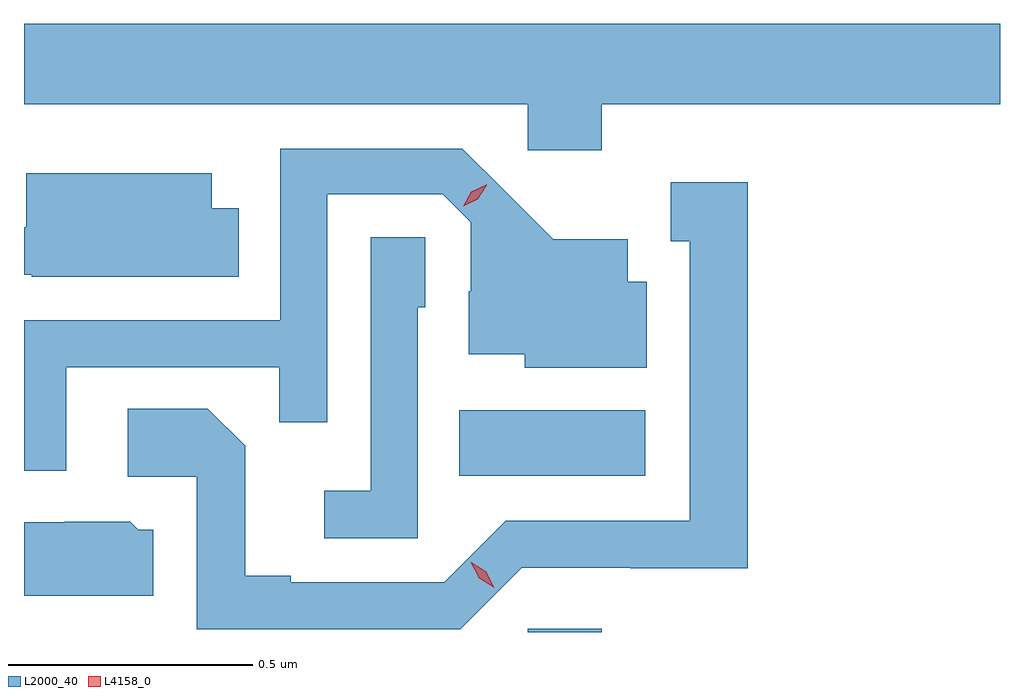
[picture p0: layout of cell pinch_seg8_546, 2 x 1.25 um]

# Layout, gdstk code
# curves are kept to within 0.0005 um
import gdstk
lib = gdstk.Library(unit=1e-6, precision=1e-09)
def R(c, l, rs):  # rectangles x0, y0, x1, y1
    for r in rs: c.add(gdstk.rectangle(r[:2], r[2:], *l))
def P(c, l, *ps):  # polygons
    for p in ps: c.add(gdstk.Polygon(p, *l))
L2000_40 = (2000, 40)
L4158_0 = (4158, 0)

pinch_seg8_546 = lib.new_cell('pinch_seg8_546')
R(pinch_seg8_546, L2000_40, [(119.304,1104.762,119.456,1104.769), (119.164,1105.082,119.545,1105.216)])
P(pinch_seg8_546, L2000_40, [(119.456,1105.844),(120.272,1105.844),(120.272,1106.008),(118.272,1106.008),(118.272,1105.844),(119.304,1105.844),(119.304,1105.749),(119.456,1105.749)],
  [(118.359,1105.305),(118.795,1105.305),(118.795,1105.192),(118.893,1105.192),(118.893,1105.659),(119.13,1105.659),(119.187,1105.602),(119.187,1105.46),(119.183,1105.46),(119.183,1105.331),(119.298,1105.331),(119.298,1105.304),(119.548,1105.304),(119.548,1105.48),(119.509,1105.48),(119.509,1105.567),(119.357,1105.567),(119.17,1105.752),(118.797,1105.752),(118.797,1105.401),(118.272,1105.401),(118.272,1105.092),(118.359,1105.092)],
  [(118.712,1105.63),(118.657,1105.63),(118.657,1105.702),(118.277,1105.702),(118.277,1105.591),(118.272,1105.591),(118.272,1105.494),(118.288,1105.494),(118.288,1105.49),(118.712,1105.49)],
  [(119.292,1104.894),(119.514,1104.894),(119.514,1104.893),(119.755,1104.893),(119.755,1105.684),(119.597,1105.684),(119.597,1105.563),(119.636,1105.563),(119.636,1104.99),(119.259,1104.99),(119.133,1104.864),(118.819,1104.864),(118.819,1104.877),(118.725,1104.877),(118.725,1105.144),(118.649,1105.22),(118.485,1105.22),(118.485,1105.08),(118.626,1105.08),(118.626,1104.768),(119.166,1104.768)],
  [(119.079,1105.428),(119.094,1105.428),(119.094,1105.571),(118.983,1105.571),(118.983,1105.051),(118.887,1105.051),(118.887,1104.954),(119.079,1104.954)],
  [(118.537,1104.972),(118.506,1104.972),(118.49,1104.988),(118.356,1104.988),(118.356,1104.987),(118.272,1104.987),(118.272,1104.836),(118.537,1104.836)])
P(pinch_seg8_546, L4158_0, [(119.236,1104.853),(119.205,1104.872),(119.187,1104.905),(119.187,1104.905),(119.188,1104.905),(119.219,1104.886),(119.236,1104.853),(119.236,1104.853)],
  [(119.172,1105.634),(119.172,1105.634),(119.189,1105.664),(119.219,1105.679),(119.22,1105.679),(119.22,1105.678),(119.202,1105.649),(119.172,1105.634)])

lib.write_gds('pinch_seg8_546.gds')
